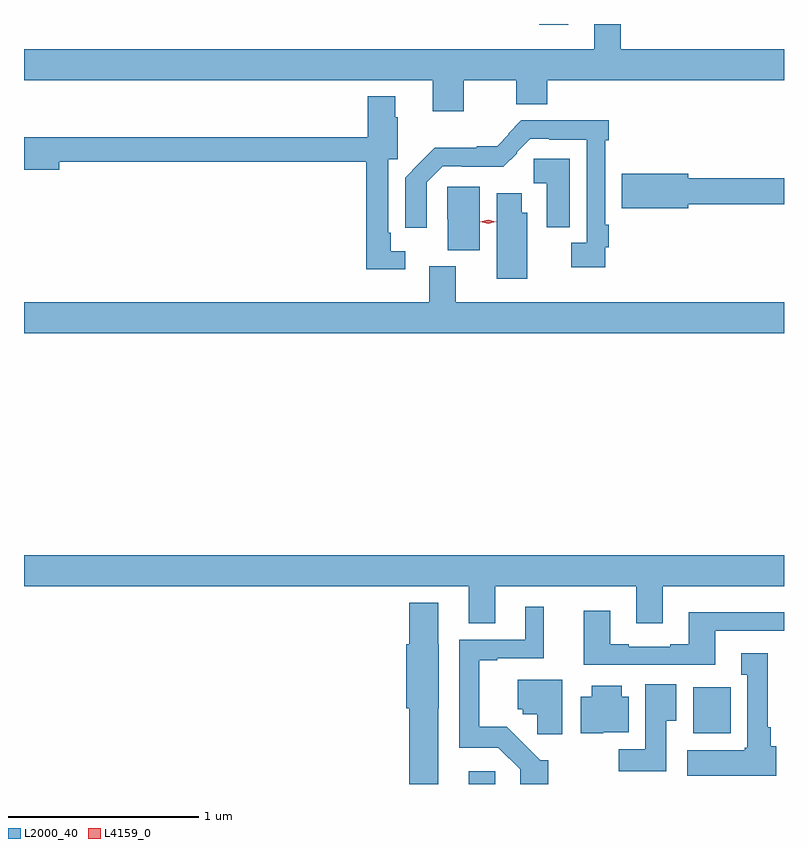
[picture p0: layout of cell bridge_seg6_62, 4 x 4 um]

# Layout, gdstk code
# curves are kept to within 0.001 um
import gdstk
lib = gdstk.Library(unit=1e-6, precision=1e-09)
def R(c, l, rs):  # rectangles x0, y0, x1, y1
    for r in rs: c.add(gdstk.rectangle(r[:2], r[2:], *l))
def P(c, l, *ps):  # polygons
    for p in ps: c.add(gdstk.Polygon(p, *l))
L2000_40 = (2000, 40)
L4159_0 = (4159, 0)

bridge_seg6_62 = lib.new_cell('bridge_seg6_62')
R(bridge_seg6_62, L2000_40, [(654.059,966.276,654.198,966.343), (655.241,966.542,655.438,966.784), (654.431,970.272,654.583,970.276)])
P(bridge_seg6_62, L2000_40, [(654.034,969.98),(654.311,969.98),(654.311,969.854),(654.472,969.854),(654.472,969.98),(655.719,969.98),(655.719,970.144),(654.859,970.144),(654.859,970.276),(654.719,970.276),(654.719,970.144),(651.719,970.144),(651.719,969.98),(653.87,969.98),(653.87,969.816),(654.034,969.816)],
  [(653.725,969.081),(653.649,969.081),(653.649,969.178),(653.637,969.178),(653.637,969.564),(653.687,969.564),(653.687,969.785),(653.674,969.785),(653.674,969.895),(653.528,969.895),(653.528,969.679),(651.719,969.679),(651.719,969.508),(651.904,969.508),(651.904,969.55),(653.521,969.55),(653.521,968.984),(653.725,968.984)],
  [(654.777,969.1),(654.797,969.1),(654.797,969.22),(654.777,969.22),(654.777,969.665),(654.797,969.665),(654.797,969.769),(654.337,969.769),(654.267,969.699),(654.271,969.695),(654.209,969.633),(654.101,969.633),(654.101,969.625),(653.881,969.625),(653.726,969.468),(653.726,969.204),(653.838,969.204),(653.838,969.444),(653.922,969.528),(654.022,969.528),(654.022,969.524),(654.241,969.524),(654.315,969.597),(654.312,969.6),(654.384,969.672),(654.484,969.672),(654.484,969.668),(654.681,969.668),(654.681,969.124),(654.598,969.124),(654.598,968.996),(654.777,968.996)],
  [(654.592,969.566),(654.402,969.566),(654.402,969.437),(654.47,969.437),(654.47,969.205),(654.592,969.205)],
  [(655.216,969.328),(655.719,969.328),(655.719,969.464),(655.216,969.464),(655.216,969.488),(654.864,969.488),(654.864,969.305),(655.216,969.305)],
  [(654.118,969.42),(653.946,969.42),(653.946,969.249),(653.948,969.249),(653.948,969.086),(654.118,969.086)],
  [(654.367,969.282),(654.34,969.282),(654.34,969.385),(654.206,969.385),(654.206,968.934),(654.367,968.934)],
  [(655.719,968.812),(653.992,968.812),(653.992,969.001),(653.852,969.001),(653.852,968.812),(651.719,968.812),(651.719,968.648),(655.719,968.648)],
  [(654.199,967.316),(654.941,967.316),(654.941,967.122),(655.081,967.122),(655.081,967.316),(655.719,967.316),(655.719,967.48),(651.719,967.48),(651.719,967.316),(654.059,967.316),(654.059,967.122),(654.199,967.122)],
  [(653.899,966.675),(653.902,966.675),(653.902,967.011),(653.899,967.011),(653.899,967.231),(653.747,967.231),(653.747,967.011),(653.732,967.011),(653.732,966.675),(653.747,966.675),(653.747,966.276),(653.899,966.276)],
  [(654.478,966.4),(654.437,966.4),(654.259,966.578),(654.115,966.578),(654.115,966.927),(654.211,966.927),(654.211,966.939),(654.455,966.939),(654.455,967.21),(654.356,967.21),(654.356,967.035),(654.011,967.035),(654.011,966.468),(654.216,966.468),(654.33,966.354),(654.33,966.276),(654.478,966.276)],
  [(655.357,967.083),(655.719,967.083),(655.719,967.18),(655.217,967.18),(655.217,967.012),(655.121,967.012),(655.121,966.999),(654.901,966.999),(654.901,967.012),(654.805,967.012),(654.805,967.189),(654.665,967.189),(654.665,966.903),(655.357,966.903)],
  [(655.678,966.474),(655.648,966.474),(655.648,966.574),(655.633,966.574),(655.633,966.964),(655.493,966.964),(655.493,966.851),(655.526,966.851),(655.526,966.468),(655.513,966.468),(655.513,966.454),(655.209,966.454),(655.209,966.32),(655.678,966.32)],
  [(654.553,966.826),(654.317,966.826),(654.317,966.669),(654.345,966.669),(654.345,966.642),(654.421,966.642),(654.421,966.537),(654.553,966.537)],
  [(655.099,966.608),(655.153,966.608),(655.153,966.802),(654.989,966.802),(654.989,966.46),(654.85,966.46),(654.85,966.342),(655.099,966.342)],
  [(654.768,966.548),(654.901,966.548),(654.901,966.736),(654.865,966.736),(654.865,966.793),(654.707,966.793),(654.707,966.736),(654.65,966.736),(654.65,966.542),(654.768,966.542)])
P(bridge_seg6_62, L4159_0, [(654.162,969.225),(654.121,969.235),(654.121,969.235),(654.121,969.235),(654.162,969.245),(654.203,969.235),(654.204,969.235),(654.203,969.234)])

lib.write_gds('bridge_seg6_62.gds')
